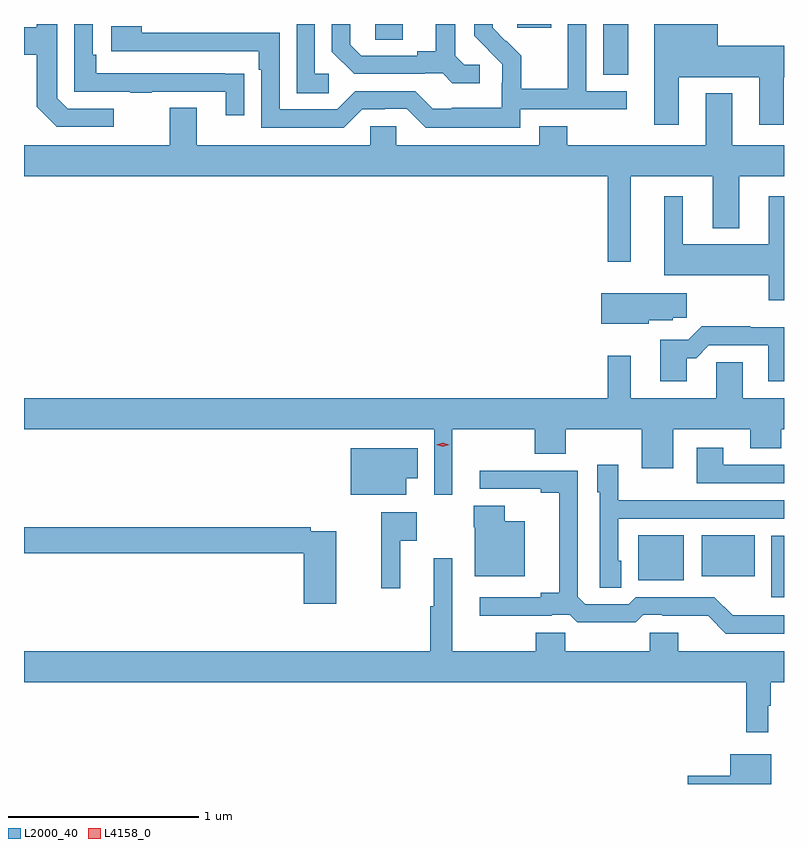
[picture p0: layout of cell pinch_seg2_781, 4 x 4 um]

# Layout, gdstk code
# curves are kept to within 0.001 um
import gdstk
lib = gdstk.Library(unit=1e-6, precision=1e-09)
def R(c, l, rs):  # rectangles x0, y0, x1, y1
    for r in rs: c.add(gdstk.rectangle(r[:2], r[2:], *l))
def P(c, l, *ps):  # polygons
    for p in ps: c.add(gdstk.Polygon(p, *l))
L2000_40 = (2000, 40)
L4158_0 = (4158, 0)

pinch_seg2_781 = lib.new_cell('pinch_seg2_781')
R(pinch_seg2_781, L2000_40, [(723.459,613.452,723.525,613.776), (722.759,613.541,722.998,613.777), (723.092,613.562,723.37,613.777), (722.573,616.201,722.704,616.469), (721.374,616.387,721.519,616.469), (722.12,616.449,722.299,616.469)])
P(pinch_seg2_781, L2000_40, [(722.136,616.02),(722.698,616.02),(722.698,616.116),(722.484,616.116),(722.484,616.469),(722.388,616.469),(722.388,616.352),(722.386,616.352),(722.386,616.129),(722.141,616.129),(722.141,616.303),(722.064,616.38),(722.061,616.377),(721.991,616.448),(721.991,616.469),(721.896,616.469),(721.896,616.406),(722.042,616.258),(722.042,616.161),(722.04,616.161),(722.04,616.027),(721.777,616.027),(721.777,616.023),(721.677,616.023),(721.584,616.116),(721.269,616.116),(721.173,616.02),(720.87,616.02),(720.87,616.422),(720.146,616.422),(720.146,616.456),(719.985,616.456),(719.985,616.326),(720.761,616.326),(720.761,616.229),(720.774,616.229),(720.774,615.924),(721.209,615.924),(721.305,616.02),(721.424,616.02),(721.424,616.023),(721.539,616.023),(721.639,615.923),(722.136,615.923)],
  [(720.683,616.208),(720.581,616.208),(720.581,616.209),(719.906,616.209),(719.906,616.306),(719.886,616.306),(719.886,616.469),(719.79,616.469),(719.79,616.113),(720.085,616.113),(720.085,616.108),(720.197,616.108),(720.197,616.113),(720.587,616.113),(720.587,615.99),(720.683,615.99)],
  [(722.971,616.19),(723.395,616.19),(723.395,615.939),(723.523,615.939),(723.523,616.19),(723.525,616.19),(723.525,616.354),(723.175,616.354),(723.175,616.469),(722.843,616.469),(722.843,615.939),(722.971,615.939)],
  [(721.924,616.254),(721.842,616.254),(721.795,616.301),(721.795,616.469),(721.691,616.469),(721.691,616.325),(721.595,616.325),(721.595,616.302),(721.3,616.302),(721.243,616.359),(721.243,616.469),(721.146,616.469),(721.146,616.322),(721.262,616.206),(721.634,616.206),(721.634,616.209),(721.728,616.209),(721.78,616.157),(721.924,616.157)],
  [(719.998,616.023),(719.754,616.023),(719.7,616.077),(719.7,616.469),(719.592,616.469),(719.592,616.453),(719.525,616.453),(719.525,616.306),(719.592,616.306),(719.592,616.033),(719.697,615.927),(719.998,615.927)],
  [(721.129,616.206),(721.056,616.206),(721.056,616.469),(720.96,616.469),(720.96,616.105),(721.129,616.105)],
  [(722.719,615.668),(723.149,615.668),(723.149,615.395),(723.289,615.395),(723.289,615.668),(723.525,615.668),(723.525,615.832),(723.253,615.832),(723.253,616.105),(723.113,616.105),(723.113,615.832),(722.385,615.832),(722.385,615.931),(722.237,615.931),(722.237,615.832),(721.485,615.832),(721.485,615.93),(721.347,615.93),(721.347,615.832),(720.433,615.832),(720.433,616.027),(720.293,616.027),(720.293,615.832),(719.525,615.832),(719.525,615.668),(722.598,615.668),(722.598,615.219),(722.719,615.219)],
  [(723.525,615.562),(723.446,615.562),(723.446,615.31),(722.992,615.31),(722.992,615.562),(722.894,615.562),(722.894,615.146),(723.445,615.146),(723.445,615.015),(723.525,615.015)],
  [(722.814,614.909),(722.94,614.909),(722.94,614.923),(723.013,614.923),(723.013,615.052),(722.564,615.052),(722.564,614.891),(722.814,614.891)],
  [(723.013,614.711),(723.062,614.711),(723.129,614.778),(723.443,614.778),(723.443,614.589),(723.525,614.589),(723.525,614.872),(723.347,614.872),(723.347,614.879),(723.092,614.879),(723.021,614.808),(722.873,614.808),(722.873,614.589),(723.013,614.589)],
  [(721.78,614.336),(722.213,614.336),(722.213,614.208),(722.377,614.208),(722.377,614.336),(722.777,614.336),(722.777,614.13),(722.941,614.13),(722.941,614.336),(723.347,614.336),(723.347,614.237),(723.511,614.237),(723.511,614.336),(723.525,614.336),(723.525,614.5),(723.307,614.5),(723.307,614.69),(723.168,614.69),(723.168,614.5),(722.719,614.5),(722.719,614.722),(722.598,614.722),(722.598,614.5),(719.525,614.5),(719.525,614.336),(721.683,614.336),(721.683,613.992),(721.78,613.992)],
  [(723.525,614.148),(723.205,614.148),(723.205,614.239),(723.065,614.239),(723.065,614.052),(723.525,614.052)],
  [(721.537,614.078),(721.598,614.078),(721.598,614.236),(721.244,614.236),(721.244,613.991),(721.537,613.991)],
  [(722.668,613.644),(722.652,613.644),(722.652,613.866),(723.525,613.866),(723.525,613.962),(722.969,613.962),(722.969,613.963),(722.652,613.963),(722.652,614.149),(722.543,614.149),(722.543,614.004),(722.556,614.004),(722.556,613.501),(722.668,613.501)],
  [(723.525,613.356),(723.358,613.356),(723.358,613.358),(723.254,613.358),(723.159,613.452),(722.745,613.452),(722.709,613.416),(722.478,613.416),(722.439,613.455),(722.439,614.118),(721.923,614.118),(721.923,614.022),(722.246,614.022),(722.246,614.002),(722.342,614.002),(722.342,613.475),(722.246,613.475),(722.246,613.452),(721.923,613.452),(721.923,613.355),(722.303,613.355),(722.303,613.359),(722.397,613.359),(722.437,613.32),(722.745,613.32),(722.784,613.359),(722.884,613.359),(722.884,613.355),(723.125,613.355),(723.219,613.26),(723.525,613.26)],
  [(722.161,613.852),(722.056,613.852),(722.056,613.933),(721.891,613.933),(721.891,613.82),(721.898,613.82),(721.898,613.562),(722.161,613.562)],
  [(721.505,613.748),(721.591,613.748),(721.591,613.9),(721.405,613.9),(721.405,613.5),(721.505,613.5)],
  [(721.168,613.8),(721.034,613.8),(721.034,613.82),(719.525,613.82),(719.525,613.684),(720.998,613.684),(720.998,613.419),(721.168,613.419)],
  [(723.442,612.881),(723.454,612.881),(723.454,613.004),(723.525,613.004),(723.525,613.168),(722.968,613.168),(722.968,613.266),(722.818,613.266),(722.818,613.168),(722.373,613.168),(722.373,613.266),(722.218,613.266),(722.218,613.168),(721.78,613.168),(721.78,613.657),(721.682,613.657),(721.682,613.404),(721.663,613.404),(721.663,613.168),(719.525,613.168),(719.525,613.004),(723.325,613.004),(723.325,612.741),(723.442,612.741)],
  [(723.457,612.625),(723.242,612.625),(723.242,612.512),(723.018,612.512),(723.018,612.469),(723.457,612.469)])
P(pinch_seg2_781, L4158_0, [(721.73,614.244),(721.695,614.254),(721.695,614.254),(721.695,614.254),(721.73,614.264),(721.764,614.254),(721.764,614.254),(721.764,614.254)])

lib.write_gds('pinch_seg2_781.gds')
